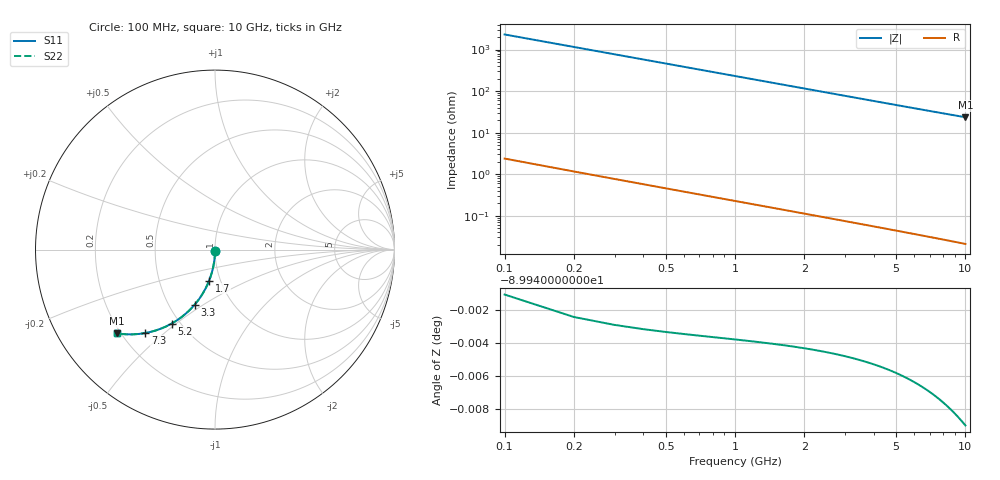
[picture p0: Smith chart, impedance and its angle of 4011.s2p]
# Hz S RI R 50.00
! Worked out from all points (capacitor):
!   100 points, 100 MHz to 10 GHz, reference 50 ohm
!   read as one part in shunt: C = 688 fF near 100 MHz
!   lowest |Z| = 23.5 ohm at 10 GHz (marker M1)
!   S11 on the Smith chart (normalised r, x): 100 MHz: 1.00, -0.02; 1.7 GHz: 0.88, -0.32; 3.3 GHz: 0.67, -0.46; 5.2 GHz: 0.45, -0.48; 7.3 GHz: 0.30, -0.43; 10 GHz: 0.19, -0.36
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1e8  -4.27e-05 -0.0105  0.9998 -0.0111  0.9998 -0.0111  -4.27e-05 -0.0105
2e8  -0.000403 -0.021  0.9994 -0.0222  0.9994 -0.0222  -0.000403 -0.021
3e8  -0.000996 -0.0315  0.9988 -0.0333  0.9988 -0.0333  -0.000996 -0.0315
4e8  -0.00182 -0.042  0.998 -0.0443  0.998 -0.0443  -0.00182 -0.042
5e8  -0.00288 -0.0524  0.9969 -0.0554  0.9969 -0.0554  -0.00288 -0.0524
6e8  -0.00416 -0.0628  0.9957 -0.0664  0.9957 -0.0664  -0.00416 -0.0628
8e8  -0.00742 -0.0834  0.9924 -0.0882  0.9924 -0.0882  -0.00742 -0.0834
1.1e9  -0.014 -0.114  0.9858 -0.1205  0.9858 -0.1205  -0.014 -0.114
1.4e9  -0.0224 -0.1438  0.9773 -0.1522  0.9773 -0.1522  -0.0224 -0.1438
1.7e9  -0.0328 -0.1727  0.967 -0.1829  0.967 -0.1829  -0.0328 -0.1727
1.8e9  -0.0366 -0.1822  0.9632 -0.1929  0.9632 -0.1929  -0.0366 -0.1822
2.1e9  -0.0492 -0.2097  0.9506 -0.2223  0.9506 -0.2223  -0.0492 -0.2097
2.5e9  -0.0683 -0.2446  0.9314 -0.2596  0.9314 -0.2596  -0.0683 -0.2446
3.3e9  -0.1134 -0.3069  0.8862 -0.3268  0.8862 -0.3268  -0.1134 -0.3069
3.4e9  -0.1196 -0.314  0.88 -0.3344  0.88 -0.3344  -0.1196 -0.314
4.2e9  -0.172 -0.3644  0.8275 -0.3897  0.8275 -0.3897  -0.172 -0.3644
5.1e9  -0.2349 -0.4082  0.7645 -0.439  0.7645 -0.439  -0.2349 -0.4082
5.2e9  -0.242 -0.4123  0.7574 -0.4437  0.7574 -0.4437  -0.242 -0.4123
6.7e9  -0.3474 -0.4555  0.6515 -0.4962  0.6515 -0.4962  -0.3474 -0.4555
7.3e9  -0.3878 -0.4647  0.611 -0.5091  0.611 -0.5091  -0.3878 -0.4647
8.4e9  -0.4572 -0.472  0.5413 -0.5234  0.5413 -0.5234  -0.4572 -0.472
1e10  -0.5457 -0.4665  0.4522 -0.5281  0.4522 -0.5281  -0.5457 -0.4665
